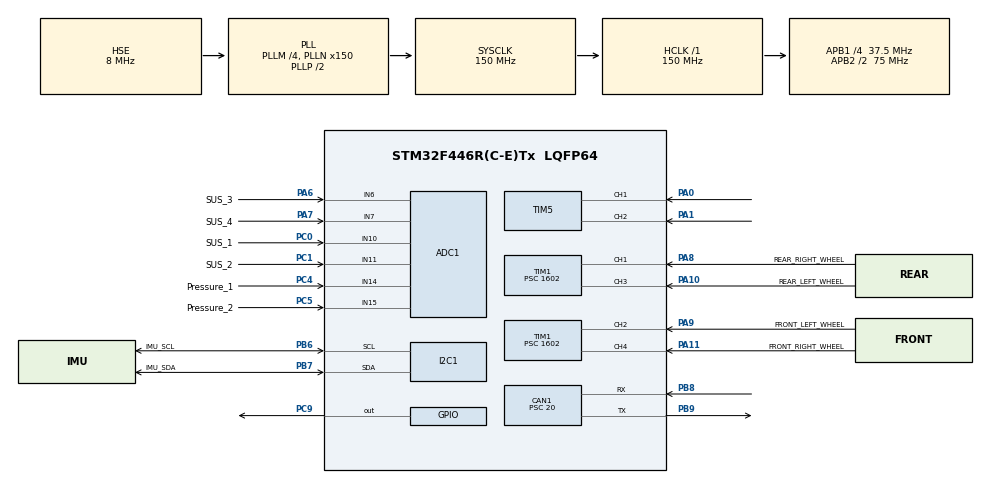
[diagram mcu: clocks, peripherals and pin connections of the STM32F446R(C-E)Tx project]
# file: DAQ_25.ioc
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ADC1.Channel-0\#ChannelRegularConversion=ADC_CHANNEL_10
ADC1.Channel-1\#ChannelRegularConversion=ADC_CHANNEL_11
ADC1.Channel-2\#ChannelRegularConversion=ADC_CHANNEL_6
ADC1.Channel-3\#ChannelRegularConversion=ADC_CHANNEL_7
ADC1.Channel-4\#ChannelRegularConversion=ADC_CHANNEL_14
ADC1.Channel-5\#ChannelRegularConversion=ADC_CHANNEL_15
ADC1.ClockPrescaler=ADC_CLOCK_SYNC_PCLK_DIV8
ADC1.ContinuousConvMode=ENABLE
ADC1.DMAContinuousRequests=ENABLE
ADC1.NbrOfConversion=6
ADC1.NbrOfConversionFlag=1
ADC1.Rank-0\#ChannelRegularConversion=1
ADC1.Rank-1\#ChannelRegularConversion=2
ADC1.Rank-2\#ChannelRegularConversion=3
ADC1.Rank-3\#ChannelRegularConversion=4
ADC1.Rank-4\#ChannelRegularConversion=5
ADC1.Rank-5\#ChannelRegularConversion=6
ADC1.SamplingTime-0\#ChannelRegularConversion=ADC_SAMPLETIME_480CYCLES
ADC1.SamplingTime-1\#ChannelRegularConversion=ADC_SAMPLETIME_3CYCLES
ADC1.SamplingTime-2\#ChannelRegularConversion=ADC_SAMPLETIME_3CYCLES
ADC1.SamplingTime-3\#ChannelRegularConversion=ADC_SAMPLETIME_3CYCLES
ADC1.SamplingTime-4\#ChannelRegularConversion=ADC_SAMPLETIME_3CYCLES
ADC1.SamplingTime-5\#ChannelRegularConversion=ADC_SAMPLETIME_3CYCLES
ADC1.ScanConvMode=ENABLE
ADC1.master=1
CAN1.BS1=CAN_BS1_12TQ
CAN1.BS2=CAN_BS2_2TQ
CAN1.CalculateBaudRate=124999
CAN1.CalculateTimeBit=8000
CAN1.CalculateTimeQuantum=533.3333333333334
CAN1.Prescaler=20
Dma.ADC1.2.Direction=DMA_PERIPH_TO_MEMORY
Dma.ADC1.2.FIFOMode=DMA_FIFOMODE_DISABLE
Dma.ADC1.2.Instance=DMA2_Stream0
Dma.ADC1.2.MemDataAlignment=DMA_MDATAALIGN_HALFWORD
Dma.ADC1.2.MemInc=DMA_MINC_ENABLE
Dma.ADC1.2.Mode=DMA_CIRCULAR
Dma.ADC1.2.PeriphDataAlignment=DMA_PDATAALIGN_HALFWORD
Dma.ADC1.2.PeriphInc=DMA_PINC_DISABLE
Dma.ADC1.2.Priority=DMA_PRIORITY_LOW
Dma.Request0=TIM1_CH4/TRIG/COM
Dma.Request1=TIM1_CH2
Dma.Request2=ADC1
Dma.Request3=TIM1_CH3
Dma.Request4=TIM1_CH1
Dma.TIM1_CH1.4.Direction=DMA_PERIPH_TO_MEMORY
Dma.TIM1_CH1.4.FIFOMode=DMA_FIFOMODE_DISABLE
Dma.TIM1_CH1.4.Instance=DMA2_Stream1
Dma.TIM1_CH1.4.MemDataAlignment=DMA_MDATAALIGN_HALFWORD
Dma.TIM1_CH1.4.MemInc=DMA_MINC_ENABLE
Dma.TIM1_CH1.4.Mode=DMA_CIRCULAR
Dma.TIM1_CH1.4.PeriphDataAlignment=DMA_PDATAALIGN_HALFWORD
Dma.TIM1_CH1.4.PeriphInc=DMA_PINC_DISABLE
Dma.TIM1_CH1.4.Priority=DMA_PRIORITY_LOW
Dma.TIM1_CH2.1.Direction=DMA_PERIPH_TO_MEMORY
Dma.TIM1_CH2.1.FIFOMode=DMA_FIFOMODE_DISABLE
Dma.TIM1_CH2.1.Instance=DMA2_Stream2
Dma.TIM1_CH2.1.MemDataAlignment=DMA_MDATAALIGN_HALFWORD
Dma.TIM1_CH2.1.MemInc=DMA_MINC_ENABLE
Dma.TIM1_CH2.1.Mode=DMA_CIRCULAR
Dma.TIM1_CH2.1.PeriphDataAlignment=DMA_PDATAALIGN_HALFWORD
Dma.TIM1_CH2.1.PeriphInc=DMA_PINC_DISABLE
Dma.TIM1_CH2.1.Priority=DMA_PRIORITY_LOW
Dma.TIM1_CH3.3.Direction=DMA_PERIPH_TO_MEMORY
Dma.TIM1_CH3.3.FIFOMode=DMA_FIFOMODE_DISABLE
Dma.TIM1_CH3.3.Instance=DMA2_Stream6
Dma.TIM1_CH3.3.MemDataAlignment=DMA_MDATAALIGN_HALFWORD
Dma.TIM1_CH3.3.MemInc=DMA_MINC_ENABLE
Dma.TIM1_CH3.3.Mode=DMA_CIRCULAR
Dma.TIM1_CH3.3.PeriphDataAlignment=DMA_PDATAALIGN_HALFWORD
Dma.TIM1_CH3.3.PeriphInc=DMA_PINC_DISABLE
Dma.TIM1_CH3.3.Priority=DMA_PRIORITY_LOW
Dma.TIM1_CH4/TRIG/COM.0.Direction=DMA_PERIPH_TO_MEMORY
Dma.TIM1_CH4/TRIG/COM.0.FIFOMode=DMA_FIFOMODE_DISABLE
Dma.TIM1_CH4/TRIG/COM.0.Instance=DMA2_Stream4
Dma.TIM1_CH4/TRIG/COM.0.MemDataAlignment=DMA_MDATAALIGN_HALFWORD
Dma.TIM1_CH4/TRIG/COM.0.MemInc=DMA_MINC_ENABLE
Dma.TIM1_CH4/TRIG/COM.0.Mode=DMA_CIRCULAR
Dma.TIM1_CH4/TRIG/COM.0.PeriphDataAlignment=DMA_PDATAALIGN_HALFWORD
Dma.TIM1_CH4/TRIG/COM.0.PeriphInc=DMA_PINC_DISABLE
Dma.TIM1_CH4/TRIG/COM.0.Priority=DMA_PRIORITY_LOW
Mcu.Family=STM32F4
Mcu.Name=STM32F446R(C-E)Tx
Mcu.Package=LQFP64
NVIC.PriorityGroup=NVIC_PRIORITYGROUP_4
NVIC.TIM2_IRQn=true\:15\:0\:false\:false\:true\:false\:true\:true
NVIC.TimeBase=TIM2_IRQn
NVIC.TimeBaseIP=TIM2
PA0-WKUP.GPIO_PuPd=GPIO_PULLUP
PA0-WKUP.Signal=S_TIM5_CH1
PA1.GPIO_PuPd=GPIO_PULLUP
PA1.Signal=S_TIM5_CH2
PA10.GPIO_Label=REAR_LEFT_WHEEL
PA10.Signal=S_TIM1_CH3
PA11.GPIO_Label=FRONT_RIGHT_WHEEL
PA11.Signal=S_TIM1_CH4
PA13.Mode=Serial_Wire
PA13.Signal=SYS_JTMS-SWDIO
PA14.Mode=Serial_Wire
PA14.Signal=SYS_JTCK-SWCLK
PA6.GPIO_Label=SUS_3
PA6.Signal=ADCx_IN6
PA7.GPIO_Label=SUS_4
PA7.Signal=ADCx_IN7
PA8.GPIO_Label=REAR_RIGHT_WHEEL
PA8.Signal=S_TIM1_CH1
PA9.GPIO_Label=FRONT_LEFT_WHEEL
PA9.Signal=S_TIM1_CH2
PB6.GPIO_Label=IMU_SCL
PB6.Mode=I2C
PB6.Signal=I2C1_SCL
PB7.GPIO_Label=IMU_SDA
PB7.Mode=I2C
PB7.Signal=I2C1_SDA
PB8.Mode=CAN_Activate
PB8.Signal=CAN1_RX
PB9.Mode=CAN_Activate
PB9.Signal=CAN1_TX
PC0.GPIO_Label=SUS_1
PC0.Signal=ADCx_IN10
PC1.GPIO_Label=SUS_2
PC1.Signal=ADCx_IN11
PC4.GPIO_Label=Pressure_1
PC4.Signal=ADCx_IN14
PC5.GPIO_Label=Pressure_2
PC5.Signal=ADCx_IN15
PC9.Signal=GPIO_Output
PH0-OSC_IN.Mode=HSE-External-Oscillator
PH0-OSC_IN.Signal=RCC_OSC_IN
PH1-OSC_OUT.Mode=HSE-External-Oscillator
PH1-OSC_OUT.Signal=RCC_OSC_OUT
ProjectManager.HeapSize=0x200
ProjectManager.StackSize=0x400
ProjectManager.TargetToolchain=CMake
RCC.AHBFreq_Value=150000000
RCC.APB1CLKDivider=RCC_HCLK_DIV4
RCC.APB1Freq_Value=37500000
RCC.APB1TimFreq_Value=75000000
RCC.APB2CLKDivider=RCC_HCLK_DIV2
RCC.APB2Freq_Value=75000000
RCC.APB2TimFreq_Value=150000000
RCC.CortexFreq_Value=150000000
RCC.HCLKFreq_Value=150000000
RCC.HSE_VALUE=8000000
RCC.PLLM=4
RCC.PLLN=150
RCC.PLLSourceVirtual=RCC_PLLSOURCE_HSE
RCC.SYSCLKFreq_VALUE=150000000
RCC.SYSCLKSource=RCC_SYSCLKSOURCE_PLLCLK
RCC.USBFreq_Value=150000000
RCC.VCOOutputFreq_Value=300000000
SH.ADCx_IN10.0=ADC1_IN10,IN10
SH.ADCx_IN11.0=ADC1_IN11,IN11
SH.ADCx_IN14.0=ADC1_IN14,IN14
SH.ADCx_IN15.0=ADC1_IN15,IN15
SH.ADCx_IN6.0=ADC1_IN6,IN6
SH.ADCx_IN7.0=ADC1_IN7,IN7
SH.S_TIM1_CH1.0=TIM1_CH1,Input_Capture1_from_TI1
SH.S_TIM1_CH2.0=TIM1_CH2,Input_Capture2_from_TI2
SH.S_TIM1_CH3.0=TIM1_CH3,Input_Capture3_from_TI3
SH.S_TIM1_CH4.0=TIM1_CH4,Input_Capture4_from_TI4
SH.S_TIM5_CH1.0=TIM5_CH1,Encoder_Interface
SH.S_TIM5_CH2.0=TIM5_CH2,Encoder_Interface
TIM1.Channel-Input_Capture1_from_TI1=TIM_CHANNEL_1
TIM1.Channel-Input_Capture2_from_TI2=TIM_CHANNEL_2
TIM1.Channel-Input_Capture3_from_TI3=TIM_CHANNEL_3
TIM1.Channel-Input_Capture4_from_TI4=TIM_CHANNEL_4
TIM1.Prescaler=1602
TIM5.EncoderMode=TIM_ENCODERMODE_TI12
TIM5.IC1Polarity=TIM_ICPOLARITY_FALLING
TIM5.IC2Polarity=TIM_ICPOLARITY_FALLING
VP_SYS_VS_tim2.Mode=TIM2
VP_TIM1_VS_ClockSourceINT.Mode=Internal
board=custom

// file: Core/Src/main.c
/* USER CODE BEGIN Header */
/**
 ******************************************************************************
 * @file           : main.c
 * @brief          : Main program body
 ******************************************************************************
 * @attention
 *
 * Copyright (c) 2025 STMicroelectronics.
 * All rights reserved.
 *
 * This software is licensed under terms that can be found in the LICENSE file
 * in the root directory of this software component.
 * If no LICENSE file comes with this software, it is provided AS-IS.
 *
 ******************************************************************************
 */
/* USER CODE END Header */
#include "main.h"

/* USER CODE BEGIN Includes */

/* =========================================== FREERTOS INCLUDES =========================================== */
#include "FreeRTOS.h"
#include "task.h"
#include "queue.h"
/* ========================================= END FREERTOS INCLUDES ========================================= */

/* ============================================= DAQ INCLUDES ============================================== */
#include "IMU.h"
#include "COMM.h"
#include "proximity.h"
#include "adc_dev.h"
#include "encoder.h"
/* =========================================== DAQ INCLUDES END ============================================ */
/* USER CODE END Includes */

ADC_HandleTypeDef hadc1;
DMA_HandleTypeDef hdma_adc1;

CAN_HandleTypeDef hcan1;

I2C_HandleTypeDef hi2c1;

TIM_HandleTypeDef htim1;
TIM_HandleTypeDef htim5;
DMA_HandleTypeDef hdma_tim1_ch4_trig_com;
DMA_HandleTypeDef hdma_tim1_ch2;
DMA_HandleTypeDef hdma_tim1_ch3;
DMA_HandleTypeDef hdma_tim1_ch1;

/* USER CODE BEGIN PV */

/*======================== IMU VARIABLES ==========================*/
IMU_structCfg imu1 = {
    .u8Address = 0x29,
    .I2cId = &hi2c1,
    .u8OperationMode = IMU_OPERATION_MODE_NDOF};

IMU_tstructVector imu_test_vector;
/*====================== END IMU VARIABLES ========================*/

/* ============================================= CAN VARIABLES ============================================= */
CAN_TxHeaderTypeDef can_tx_header;
uint8_t data_send[10] = {0x22, 45};
/* =========================================== CAN VARIABLES END =========================================== */

/* =================================== ANALYSIS VARIABLES =================================== */

TaskHandle_t task_handles[5]; /* Task handles for all the tasks created in the program. */

/* ================================= ANALYSIS VARIABLES END ================================= */

/* =================================== PROXIMITY =================================== */
DMA_HandleTypeDef *PROXIMITY_DMA_handlers[4] = {&hdma_tim1_ch2, &hdma_tim1_ch4_trig_com, &hdma_tim1_ch3, &hdma_tim1_ch1};
/* ================================= PROXIMITY END ================================= */

/* =================================== ADC VARIABLES =================================== */
// uint16_t ADC_travel_readings[CONFIG_TRAVEL_SENSOR_NUM];
/* ================================= ADC VARIABLES END ================================= */

/* =================================== TRAVEL VARIABLES =================================== */
// double travel_sensor_values[CONFIG_TRAVEL_SENSOR_NUM];
/* ================================= TRAVEL VARIABLES END ================================= */

/* USER CODE END PV */

void SystemClock_Config(void);
static void MX_GPIO_Init(void);
static void MX_DMA_Init(void);
static void MX_CAN1_Init(void);
static void MX_TIM1_Init(void);
static void MX_ADC1_Init(void);
static void MX_I2C1_Init(void);
static void MX_TIM5_Init(void);
/* USER CODE BEGIN PFP */

void green_task();
void CAN_task();
/* USER CODE END PFP */

int main(void)
{

  /* MCU Configuration--------------------------------------------------------*/

  /* Reset of all peripherals, Initializes the Flash interface and the Systick. */
  HAL_Init();

  /* Configure the system clock */
  SystemClock_Config();

  /* Initialize all configured peripherals */
  MX_GPIO_Init();
  MX_DMA_Init();
  MX_CAN1_Init();
  MX_TIM1_Init();
  MX_ADC1_Init();
  MX_I2C1_Init();
  MX_TIM5_Init();
  /* USER CODE BEGIN 2 */

  /*============================================= IMU CONFIG ============================================= */
  IMU_init(&imu1);
  /*=========================================== END IMU CONFIG =========================================== */

  /*=========================================== COMM INIT =========================================== */
  COMM_init(&hcan1, &can_tx_header);
  /*=========================================== COMM INIT END =========================================== */

  /* ========================================= PROXIMITY INIT ========================================= */
  PROXIMITY_init(&htim1, PROXIMITY_DMA_handlers);
  /* ======================================= PROXIMITY INIT END ======================================= */

  /* ========================================= ADC INIT ========================================= */
  ADC_DEV_start(&hdma_adc1, &hadc1);
  /* ======================================= ADC INIT END ======================================= */

  /* ========================================= ENCODER INIT ========================================= */
  ENCODER_init(&htim5);
  /* ======================================= ENCODER INIT END ======================================= */

  xTaskCreate(green_task, "Green Task", 500, NULL, 1, &task_handles[0]);
  xTaskCreate(IMU_task, "IMU Task", 500, NULL, 1, &task_handles[1]);
  xTaskCreate(CAN_task, "CAN Task", 500, NULL, 1, &task_handles[2]);
  xTaskCreate(PROXIMITY_task, "Proximity Task", 500, &hdma_tim1_ch4_trig_com, 1, &task_handles[3]);
  xTaskCreate(ADC_DEV_task, "TRAVEL Task", 500, NULL, 1, &task_handles[4]);

  vTaskStartScheduler();
  /* USER CODE END 2 */

  /* Infinite loop */
  while (1)
  {

  }
}

void SystemClock_Config(void)
{
  RCC_OscInitTypeDef RCC_OscInitStruct = {0};
  RCC_ClkInitTypeDef RCC_ClkInitStruct = {0};

  /** Configure the main internal regulator output voltage
  */
  __HAL_RCC_PWR_CLK_ENABLE();
  __HAL_PWR_VOLTAGESCALING_CONFIG(PWR_REGULATOR_VOLTAGE_SCALE1);

  /** Initializes the RCC Oscillators according to the specified parameters
  * in the RCC_OscInitTypeDef structure.
  */
  RCC_OscInitStruct.OscillatorType = RCC_OSCILLATORTYPE_HSE;
  RCC_OscInitStruct.HSEState = RCC_HSE_ON;
  RCC_OscInitStruct.PLL.PLLState = RCC_PLL_ON;
  RCC_OscInitStruct.PLL.PLLSource = RCC_PLLSOURCE_HSE;
  RCC_OscInitStruct.PLL.PLLM = 4;
  RCC_OscInitStruct.PLL.PLLN = 150;
  RCC_OscInitStruct.PLL.PLLP = RCC_PLLP_DIV2;
  RCC_OscInitStruct.PLL.PLLQ = 2;
  RCC_OscInitStruct.PLL.PLLR = 2;
  if (HAL_RCC_OscConfig(&RCC_OscInitStruct) != HAL_OK)
  {
    Error_Handler();
  }

  /** Initializes the CPU, AHB and APB buses clocks
  */
  RCC_ClkInitStruct.ClockType = RCC_CLOCKTYPE_HCLK|RCC_CLOCKTYPE_SYSCLK
                              |RCC_CLOCKTYPE_PCLK1|RCC_CLOCKTYPE_PCLK2;
  RCC_ClkInitStruct.SYSCLKSource = RCC_SYSCLKSOURCE_PLLCLK;
  RCC_ClkInitStruct.AHBCLKDivider = RCC_SYSCLK_DIV1;
  RCC_ClkInitStruct.APB1CLKDivider = RCC_HCLK_DIV4;
  RCC_ClkInitStruct.APB2CLKDivider = RCC_HCLK_DIV2;

  if (HAL_RCC_ClockConfig(&RCC_ClkInitStruct, FLASH_LATENCY_4) != HAL_OK)
  {
    Error_Handler();
  }
}

static void MX_ADC1_Init(void)
{

  ADC_ChannelConfTypeDef sConfig = {0};

  /** Configure the global features of the ADC (Clock, Resolution, Data Alignment and number of conversion)
  */
  hadc1.Instance = ADC1;
  hadc1.Init.ClockPrescaler = ADC_CLOCK_SYNC_PCLK_DIV8;
  hadc1.Init.Resolution = ADC_RESOLUTION_12B;
  hadc1.Init.ScanConvMode = ENABLE;
  hadc1.Init.ContinuousConvMode = ENABLE;
  hadc1.Init.DiscontinuousConvMode = DISABLE;
  hadc1.Init.ExternalTrigConvEdge = ADC_EXTERNALTRIGCONVEDGE_NONE;
  hadc1.Init.ExternalTrigConv = ADC_SOFTWARE_START;
  hadc1.Init.DataAlign = ADC_DATAALIGN_RIGHT;
  hadc1.Init.NbrOfConversion = 6;
  hadc1.Init.DMAContinuousRequests = ENABLE;
  hadc1.Init.EOCSelection = ADC_EOC_SINGLE_CONV;
  if (HAL_ADC_Init(&hadc1) != HAL_OK)
  {
    Error_Handler();
  }

  /** Configure for the selected ADC regular channel its corresponding rank in the sequencer and its sample time.
  */
  sConfig.Channel = ADC_CHANNEL_10;
  sConfig.Rank = 1;
  sConfig.SamplingTime = ADC_SAMPLETIME_480CYCLES;
  if (HAL_ADC_ConfigChannel(&hadc1, &sConfig) != HAL_OK)
  {
    Error_Handler();
  }

  /** Configure for the selected ADC regular channel its corresponding rank in the sequencer and its sample time.
  */
  sConfig.Channel = ADC_CHANNEL_11;
  sConfig.Rank = 2;
  sConfig.SamplingTime = ADC_SAMPLETIME_3CYCLES;
  if (HAL_ADC_ConfigChannel(&hadc1, &sConfig) != HAL_OK)
  {
    Error_Handler();
  }

  /** Configure for the selected ADC regular channel its corresponding rank in the sequencer and its sample time.
  */
  sConfig.Channel = ADC_CHANNEL_6;
  sConfig.Rank = 3;
  if (HAL_ADC_ConfigChannel(&hadc1, &sConfig) != HAL_OK)
  {
    Error_Handler();
  }

  /** Configure for the selected ADC regular channel its corresponding rank in the sequencer and its sample time.
  */
  sConfig.Channel = ADC_CHANNEL_7;
  sConfig.Rank = 4;
  if (HAL_ADC_ConfigChannel(&hadc1, &sConfig) != HAL_OK)
  {
    Error_Handler();
  }

  /** Configure for the selected ADC regular channel its corresponding rank in the sequencer and its sample time.
  */
  sConfig.Channel = ADC_CHANNEL_14;
  sConfig.Rank = 5;
  if (HAL_ADC_ConfigChannel(&hadc1, &sConfig) != HAL_OK)
  {
    Error_Handler();
  }

  /** Configure for the selected ADC regular channel its corresponding rank in the sequencer and its sample time.
  */
  sConfig.Channel = ADC_CHANNEL_15;
  sConfig.Rank = 6;
  if (HAL_ADC_ConfigChannel(&hadc1, &sConfig) != HAL_OK)
  {
    Error_Handler();
  }

}

static void MX_CAN1_Init(void)
{

  hcan1.Instance = CAN1;
  hcan1.Init.Prescaler = 20;
  hcan1.Init.Mode = CAN_MODE_NORMAL;
  hcan1.Init.SyncJumpWidth = CAN_SJW_1TQ;
  hcan1.Init.TimeSeg1 = CAN_BS1_12TQ;
  hcan1.Init.TimeSeg2 = CAN_BS2_2TQ;
  hcan1.Init.TimeTriggeredMode = DISABLE;
  hcan1.Init.AutoBusOff = DISABLE;
  hcan1.Init.AutoWakeUp = DISABLE;
  hcan1.Init.AutoRetransmission = DISABLE;
  hcan1.Init.ReceiveFifoLocked = DISABLE;
  hcan1.Init.TransmitFifoPriority = DISABLE;
  if (HAL_CAN_Init(&hcan1) != HAL_OK)
  {
    Error_Handler();
  }

}

static void MX_I2C1_Init(void)
{

  hi2c1.Instance = I2C1;
  hi2c1.Init.ClockSpeed = 100000;
  hi2c1.Init.DutyCycle = I2C_DUTYCYCLE_2;
  hi2c1.Init.OwnAddress1 = 0;
  hi2c1.Init.AddressingMode = I2C_ADDRESSINGMODE_7BIT;
  hi2c1.Init.DualAddressMode = I2C_DUALADDRESS_DISABLE;
  hi2c1.Init.OwnAddress2 = 0;
  hi2c1.Init.GeneralCallMode = I2C_GENERALCALL_DISABLE;
  hi2c1.Init.NoStretchMode = I2C_NOSTRETCH_DISABLE;
  if (HAL_I2C_Init(&hi2c1) != HAL_OK)
  {
    Error_Handler();
  }

}

static void MX_TIM1_Init(void)
{

  TIM_ClockConfigTypeDef sClockSourceConfig = {0};
  TIM_MasterConfigTypeDef sMasterConfig = {0};
  TIM_IC_InitTypeDef sConfigIC = {0};

  htim1.Instance = TIM1;
  htim1.Init.Prescaler = 1602;
  htim1.Init.CounterMode = TIM_COUNTERMODE_UP;
  htim1.Init.Period = 65535;
  htim1.Init.ClockDivision = TIM_CLOCKDIVISION_DIV1;
  htim1.Init.RepetitionCounter = 0;
  htim1.Init.AutoReloadPreload = TIM_AUTORELOAD_PRELOAD_DISABLE;
  if (HAL_TIM_Base_Init(&htim1) != HAL_OK)
  {
    Error_Handler();
  }
  sClockSourceConfig.ClockSource = TIM_CLOCKSOURCE_INTERNAL;
  if (HAL_TIM_ConfigClockSource(&htim1, &sClockSourceConfig) != HAL_OK)
  {
    Error_Handler();
  }
  if (HAL_TIM_IC_Init(&htim1) != HAL_OK)
  {
    Error_Handler();
  }
  sMasterConfig.MasterOutputTrigger = TIM_TRGO_RESET;
  sMasterConfig.MasterSlaveMode = TIM_MASTERSLAVEMODE_DISABLE;
  if (HAL_TIMEx_MasterConfigSynchronization(&htim1, &sMasterConfig) != HAL_OK)
  {
    Error_Handler();
  }
  sConfigIC.ICPolarity = TIM_INPUTCHANNELPOLARITY_RISING;
  sConfigIC.ICSelection = TIM_ICSELECTION_DIRECTTI;
  sConfigIC.ICPrescaler = TIM_ICPSC_DIV1;
  sConfigIC.ICFilter = 0;
  if (HAL_TIM_IC_ConfigChannel(&htim1, &sConfigIC, TIM_CHANNEL_1) != HAL_OK)
  {
    Error_Handler();
  }
  if (HAL_TIM_IC_ConfigChannel(&htim1, &sConfigIC, TIM_CHANNEL_2) != HAL_OK)
  {
    Error_Handler();
  }
  if (HAL_TIM_IC_ConfigChannel(&htim1, &sConfigIC, TIM_CHANNEL_3) != HAL_OK)
  {
    Error_Handler();
  }
  if (HAL_TIM_IC_ConfigChannel(&htim1, &sConfigIC, TIM_CHANNEL_4) != HAL_OK)
  {
    Error_Handler();
  }

}

static void MX_TIM5_Init(void)
{

  TIM_Encoder_InitTypeDef sConfig = {0};
  TIM_MasterConfigTypeDef sMasterConfig = {0};

  htim5.Instance = TIM5;
  htim5.Init.Prescaler = 0;
  htim5.Init.CounterMode = TIM_COUNTERMODE_UP;
  htim5.Init.Period = 4294967295;
  htim5.Init.ClockDivision = TIM_CLOCKDIVISION_DIV1;
  htim5.Init.AutoReloadPreload = TIM_AUTORELOAD_PRELOAD_DISABLE;
  sConfig.EncoderMode = TIM_ENCODERMODE_TI12;
  sConfig.IC1Polarity = TIM_ICPOLARITY_FALLING;
  sConfig.IC1Selection = TIM_ICSELECTION_DIRECTTI;
  sConfig.IC1Prescaler = TIM_ICPSC_DIV1;
  sConfig.IC1Filter = 0;
  sConfig.IC2Polarity = TIM_ICPOLARITY_FALLING;
  sConfig.IC2Selection = TIM_ICSELECTION_DIRECTTI;
  sConfig.IC2Prescaler = TIM_ICPSC_DIV1;
  sConfig.IC2Filter = 0;
  if (HAL_TIM_Encoder_Init(&htim5, &sConfig) != HAL_OK)
  {
    Error_Handler();
  }
  sMasterConfig.MasterOutputTrigger = TIM_TRGO_RESET;
  sMasterConfig.MasterSlaveMode = TIM_MASTERSLAVEMODE_DISABLE;
  if (HAL_TIMEx_MasterConfigSynchronization(&htim5, &sMasterConfig) != HAL_OK)
  {
    Error_Handler();
  }

}

static void MX_DMA_Init(void)
{

  /* DMA controller clock enable */
  __HAL_RCC_DMA2_CLK_ENABLE();

}

static void MX_GPIO_Init(void)
{
  GPIO_InitTypeDef GPIO_InitStruct = {0};

  /* GPIO Ports Clock Enable */
  __HAL_RCC_GPIOH_CLK_ENABLE();
  __HAL_RCC_GPIOC_CLK_ENABLE();
  __HAL_RCC_GPIOA_CLK_ENABLE();
  __HAL_RCC_GPIOB_CLK_ENABLE();

  /*Configure GPIO pin Output Level */
  HAL_GPIO_WritePin(GPIOC, GPIO_PIN_9, GPIO_PIN_RESET);

  /*Configure GPIO pin : PC9 */
  GPIO_InitStruct.Pin = GPIO_PIN_9;
  GPIO_InitStruct.Mode = GPIO_MODE_OUTPUT_PP;
  GPIO_InitStruct.Pull = GPIO_NOPULL;
  GPIO_InitStruct.Speed = GPIO_SPEED_FREQ_LOW;
  HAL_GPIO_Init(GPIOC, &GPIO_InitStruct);

}

/* USER CODE BEGIN 4 */
/* ========================================= RTOS TASKS ========================================= */
void green_task()
{
  COMM_can_message_t can_message;
  can_message.size = 4;
  can_message.id = 0x3;
  while (1)
  {
    can_message.data = xTaskGetTickCount();
    COMM_can_enqueue(&can_message);
    HAL_GPIO_TogglePin(GPIOC, GPIO_PIN_9);
    vTaskDelay(250);
  }
}

/* ========================================= END RTOS TASKS ========================================= */

/* ========================================= ANALYSIS ========================================= */

void trace_task_in(void)
{

  if (xTaskGetCurrentTaskHandle() == task_handles[0])
  {
    HAL_GPIO_WritePin(GPIOA, GPIO_PIN_3, 1);
  }
  else if (xTaskGetCurrentTaskHandle() == task_handles[1])
  {
    HAL_GPIO_WritePin(GPIOB, GPIO_PIN_6, 1);
  }
  else if (xTaskGetCurrentTaskHandle() == task_handles[2])
  {
    HAL_GPIO_WritePin(GPIOB, GPIO_PIN_7, 1);
  }
}

void trace_task_out()
{
  HAL_GPIO_WritePin(GPIOB, GPIO_PIN_6 | GPIO_PIN_7, 0);
  HAL_GPIO_WritePin(GPIOA, GPIO_PIN_3, 0);
}

void vApplicationIdleHook(void)
{
  HAL_GPIO_WritePin(GPIOC, GPIO_PIN_4, 1);
}

/* ========================================= ANALYSIS ========================================= */

/* USER CODE END 4 */

void HAL_TIM_PeriodElapsedCallback(TIM_HandleTypeDef *htim)
{
  if (htim->Instance == TIM2) {
    HAL_IncTick();
  }
}

void Error_Handler(void)
{
  __disable_irq();
  while (1)
  {
  }
}
